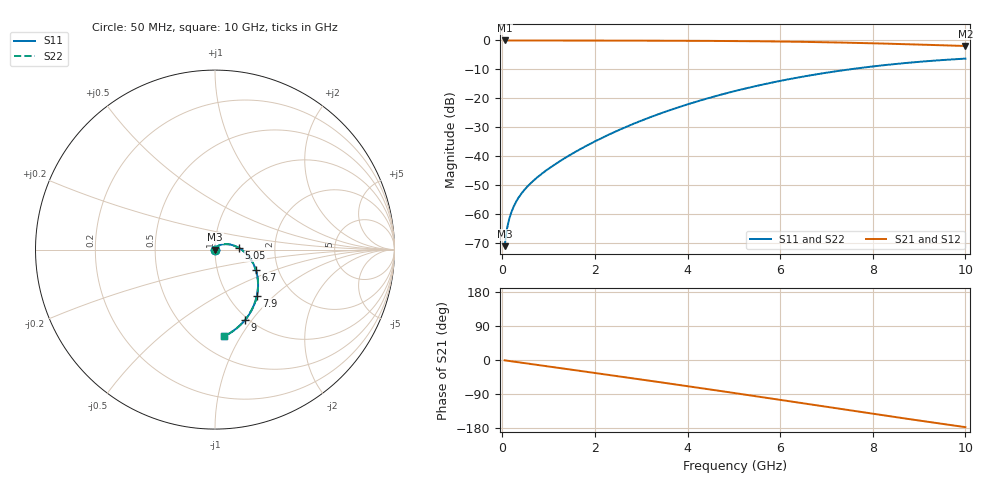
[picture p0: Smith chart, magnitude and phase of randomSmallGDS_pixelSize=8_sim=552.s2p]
! freq	dB(S11)	phase(S11)	dB(S12)	phase(S12)
!  dB(S21)	phase(S21)	dB(S22)	phase(S22)
!S-par simulation data
#  GHz  S  DB  R 50
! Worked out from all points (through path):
!   200 points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, 50 MHz to 10 GHz, reference 50 ohm
!   highest |S21| = 0.00 dB at 50 MHz (marker M1); lowest = -1.9 dB at 10 GHz (marker M2)
!   group delay of S21, straight-line fit = 49.6 ps
!   lowest |S11| = -71.1 dB at 50 MHz (marker M3), VSWR 1.00, Z = 50 + j0.0277 ohm
!   |S11| at or under -10 dB: start of sweep to 7.492 GHz
!   |S22| runs from -71.1 to -6.3 dB; largest |S21 - S12| = 0
!   S11 on the Smith chart (normalised r, x): 50 MHz: 1.00, +0.00; 5.05 GHz: 1.31, +0.02; 6.7 GHz: 1.53, -0.37; 7.9 GHz: 1.34, -0.79; 9 GHz: 0.96, -0.93; 10 GHz: 0.67, -0.85
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0.05  -71.06 81.2  -0.00 -0.9  -0.00 -0.9  -71.06 81.2
0.1  -65.11 83.6  -0.00 -1.7  -0.00 -1.7  -65.11 83.6
0.15  -61.61 83.6  -0.00 -2.6  -0.00 -2.6  -61.61 83.6
0.2  -59.14 83.1  -0.00 -3.5  -0.00 -3.5  -59.14 83.0
0.3  -55.66 81.6  -0.00 -5.2  -0.00 -5.2  -55.66 81.6
0.45  -52.13 79.4  -0.01 -7.7  -0.01 -7.7  -52.13 79.4
0.65  -48.76 76.9  -0.01 -11.2  -0.01 -11.2  -48.77 76.8
0.95  -44.88 73.2  -0.02 -16.3  -0.02 -16.3  -44.88 73.1
1.3  -41.13 68.4  -0.03 -22.3  -0.03 -22.3  -41.13 68.3
1.75  -36.96 61.6  -0.04 -30.0  -0.04 -30.0  -36.96 61.4
2.55  -30.72 48.1  -0.05 -43.7  -0.05 -43.7  -30.72 47.9
3.4  -25.31 33.1  -0.08 -58.5  -0.08 -58.5  -25.31 33.0
4.25  -20.85 18.0  -0.13 -73.5  -0.13 -73.5  -20.86 17.9
5.05  -17.37 3.6  -0.21 -87.9  -0.21 -87.9  -17.37 3.5
5.85  -14.46 -10.9  -0.34 -102.4  -0.34 -102.4  -14.46 -11.0
6.7  -11.92 -26.3  -0.53 -118.0  -0.53 -118.0  -11.92 -26.4
7.3  -10.43 -37.2  -0.72 -129.0  -0.72 -129.0  -10.43 -37.3
7.9  -9.17 -47.9  -0.94 -140.0  -0.94 -140.0  -9.17 -48.0
8.35  -8.36 -55.9  -1.12 -148.1  -1.12 -148.1  -8.36 -56.0
9  -7.38 -67.2  -1.42 -159.7  -1.42 -159.7  -7.38 -67.2
9.5  -6.77 -75.6  -1.67 -168.5  -1.67 -168.5  -6.77 -75.7
10  -6.28 -83.9  -1.91 -177.2  -1.91 -177.2  -6.28 -84.0
